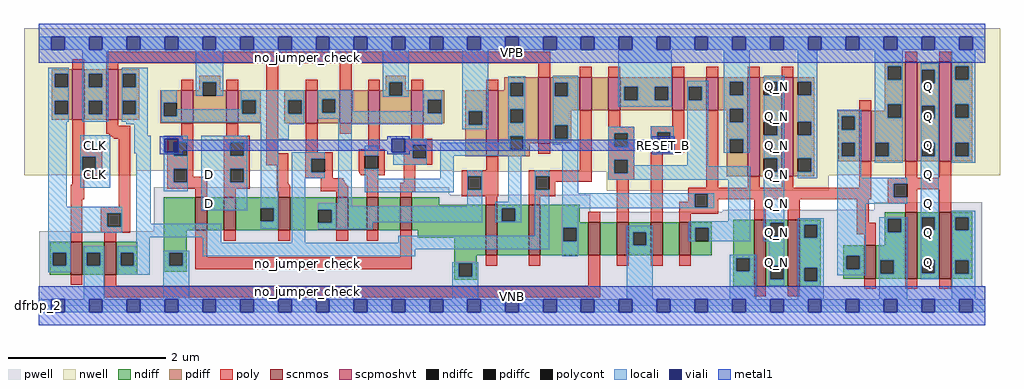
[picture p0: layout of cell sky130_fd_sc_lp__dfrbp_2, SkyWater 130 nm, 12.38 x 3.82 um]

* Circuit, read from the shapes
.subckt sky130_fd_sc_lp__dfrbp_2 CLK D RESET_B VGND VNB VPB VPWR Q Q_N
XM1 VGND CLK n1 VNB sky130_fd_pr__nfet_01v8 w=0.42 l=0.15
XM2 n2 n1 VGND VNB sky130_fd_pr__nfet_01v8 w=0.42 l=0.15
XM3 n3 RESET_B VGND VNB sky130_fd_pr__nfet_01v8 w=0.42 l=0.15
XM4 n4 D n3 VNB sky130_fd_pr__nfet_01v8 w=0.42 l=0.15
XM5 n5 n1 n4 VNB sky130_fd_pr__nfet_01v8 w=0.42 l=0.15
XM6 n6 n2 n5 VNB sky130_fd_pr__nfet_01v8 w=0.42 l=0.15
XM7 n7 n8 n6 VNB sky130_fd_pr__nfet_01v8 w=0.42 l=0.15
XM8 VGND RESET_B n7 VNB sky130_fd_pr__nfet_01v8 w=0.42 l=0.15
XM9 n8 n5 VGND VNB sky130_fd_pr__nfet_01v8 w=0.64 l=0.15
XM10 n9 n2 n8 VNB sky130_fd_pr__nfet_01v8 w=0.64 l=0.15
XM11 n10 n1 n9 VNB sky130_fd_pr__nfet_01v8 w=0.42 l=0.15
XM12 VGND n11 n10 VNB sky130_fd_pr__nfet_01v8 w=0.42 l=0.15
XM13 n12 RESET_B VGND VNB sky130_fd_pr__nfet_01v8 w=0.42 l=0.15
XM14 n11 n9 n12 VNB sky130_fd_pr__nfet_01v8 w=0.42 l=0.15
XM15 Q_N n9 VGND VNB sky130_fd_pr__nfet_01v8 w=0.84 l=0.15 m=2
XM16 VGND n9 n13 VNB sky130_fd_pr__nfet_01v8 w=0.42 l=0.15
XM17 Q n13 VGND VNB sky130_fd_pr__nfet_01v8 w=0.84 l=0.15 m=2
XM18 VPWR CLK n1 VPB sky130_fd_pr__pfet_01v8_hvt w=0.64 l=0.15
XM19 n2 n1 VPWR VPB sky130_fd_pr__pfet_01v8_hvt w=0.64 l=0.15
XM20 VPWR RESET_B n4 VPB sky130_fd_pr__pfet_01v8_hvt w=0.42 l=0.15
XM21 n4 D VPWR VPB sky130_fd_pr__pfet_01v8_hvt w=0.42 l=0.15
XM22 n5 n2 n4 VPB sky130_fd_pr__pfet_01v8_hvt w=0.42 l=0.15
XM23 n14 n1 n5 VPB sky130_fd_pr__pfet_01v8_hvt w=0.42 l=0.15
XM24 VPWR n8 n14 VPB sky130_fd_pr__pfet_01v8_hvt w=0.42 l=0.15
XM25 n5 RESET_B VPWR VPB sky130_fd_pr__pfet_01v8_hvt w=0.42 l=0.15
XM26 n8 n5 VPWR VPB sky130_fd_pr__pfet_01v8_hvt w=0.84 l=0.15
XM27 n9 n1 n8 VPB sky130_fd_pr__pfet_01v8_hvt w=0.84 l=0.15
XM28 n15 n2 n9 VPB sky130_fd_pr__pfet_01v8_hvt w=0.42 l=0.15
XM29 VPWR n11 n15 VPB sky130_fd_pr__pfet_01v8_hvt w=0.42 l=0.15
XM30 n11 RESET_B VPWR VPB sky130_fd_pr__pfet_01v8_hvt w=0.42 l=0.15
XM31 VPWR n9 n11 VPB sky130_fd_pr__pfet_01v8_hvt w=0.42 l=0.15
XM32 Q_N n9 VPWR VPB sky130_fd_pr__pfet_01v8_hvt w=1.26 l=0.15 m=2
XM33 VPWR n9 n13 VPB sky130_fd_pr__pfet_01v8_hvt w=0.64 l=0.15
XM34 Q n13 VPWR VPB sky130_fd_pr__pfet_01v8_hvt w=1.26 l=0.15 m=2
.ends

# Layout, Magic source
magic
tech sky130A
magscale 1 2
<< nwell >>
rect -38 343 2438 704
rect -38 331 249 343
rect 1049 340 2438 343
rect 1440 331 2438 340
rect 1440 292 2003 331
<< pwell >>
rect 291 282 1041 301
rect 291 238 1398 282
rect 2119 244 2393 263
rect 1735 238 2393 244
rect 291 189 2393 238
rect 1 49 2393 189
rect 0 0 2400 49
<< scnmos >>
rect 397 191 427 275
rect 469 191 499 275
rect 607 191 637 275
rect 754 191 784 275
rect 831 191 861 275
rect 916 191 946 275
rect 80 79 110 163
rect 166 79 196 163
rect 1133 128 1163 256
rect 1242 128 1272 256
rect 1394 128 1424 212
rect 1466 128 1496 212
rect 1552 128 1582 212
rect 1624 128 1654 212
rect 1814 50 1844 218
rect 1900 50 1930 218
rect 2093 69 2123 153
rect 2198 69 2228 237
rect 2284 69 2314 237
<< scpmoshvt >>
rect 85 472 115 600
rect 171 472 201 600
rect 361 463 391 547
rect 475 463 505 547
rect 677 463 707 547
rect 763 463 793 547
rect 835 463 865 547
rect 945 463 975 547
rect 1135 379 1165 547
rect 1267 412 1297 580
rect 1372 496 1402 580
rect 1444 496 1474 580
rect 1607 496 1637 580
rect 1693 496 1723 580
rect 1798 328 1828 580
rect 1884 328 1914 580
rect 2081 367 2111 495
rect 2198 367 2228 619
rect 2284 367 2314 619
<< ndiff >>
rect 317 191 397 275
rect 427 191 469 275
rect 499 248 607 275
rect 499 214 562 248
rect 596 214 607 248
rect 499 191 607 214
rect 637 244 754 275
rect 637 210 709 244
rect 743 210 754 244
rect 637 191 754 210
rect 784 191 831 275
rect 861 191 916 275
rect 946 256 1015 275
rect 946 191 1133 256
rect 27 135 80 163
rect 27 101 35 135
rect 69 101 80 135
rect 27 79 80 101
rect 110 135 166 163
rect 110 101 121 135
rect 155 101 166 135
rect 110 79 166 101
rect 196 135 249 163
rect 196 101 207 135
rect 241 101 249 135
rect 196 79 249 101
rect 317 135 375 191
rect 317 101 331 135
rect 365 101 375 135
rect 317 86 375 101
rect 961 172 1133 191
rect 1053 128 1133 172
rect 1163 248 1242 256
rect 1163 214 1174 248
rect 1208 214 1242 248
rect 1163 128 1242 214
rect 1272 212 1372 256
rect 1272 198 1394 212
rect 1272 164 1330 198
rect 1364 164 1394 198
rect 1272 128 1394 164
rect 1424 128 1466 212
rect 1496 187 1552 212
rect 1496 153 1507 187
rect 1541 153 1552 187
rect 1496 128 1552 153
rect 1582 128 1624 212
rect 1654 198 1707 212
rect 1654 164 1665 198
rect 1699 164 1707 198
rect 1654 128 1707 164
rect 1053 108 1111 128
rect 1053 74 1065 108
rect 1099 74 1111 108
rect 1053 66 1111 74
rect 1761 121 1814 218
rect 1761 87 1769 121
rect 1803 87 1814 121
rect 1761 50 1814 87
rect 1844 210 1900 218
rect 1844 176 1855 210
rect 1889 176 1900 210
rect 1844 101 1900 176
rect 1844 67 1855 101
rect 1889 67 1900 101
rect 1844 50 1900 67
rect 1930 206 1983 218
rect 1930 172 1941 206
rect 1975 172 1983 206
rect 2145 221 2198 237
rect 1930 96 1983 172
rect 2145 187 2153 221
rect 2187 187 2198 221
rect 2145 153 2198 187
rect 1930 62 1941 96
rect 1975 62 1983 96
rect 2040 127 2093 153
rect 2040 93 2048 127
rect 2082 93 2093 127
rect 2040 69 2093 93
rect 2123 115 2198 153
rect 2123 81 2134 115
rect 2168 81 2198 115
rect 2123 69 2198 81
rect 2228 225 2284 237
rect 2228 191 2239 225
rect 2273 191 2284 225
rect 2228 117 2284 191
rect 2228 83 2239 117
rect 2273 83 2284 117
rect 2228 69 2284 83
rect 2314 225 2367 237
rect 2314 191 2325 225
rect 2359 191 2367 225
rect 2314 115 2367 191
rect 2314 81 2325 115
rect 2359 81 2367 115
rect 2314 69 2367 81
rect 1930 50 1983 62
<< pdiff >>
rect 32 588 85 600
rect 32 554 40 588
rect 74 554 85 588
rect 32 520 85 554
rect 32 486 40 520
rect 74 486 85 520
rect 32 472 85 486
rect 115 588 171 600
rect 115 554 126 588
rect 160 554 171 588
rect 115 520 171 554
rect 115 486 126 520
rect 160 486 171 520
rect 115 472 171 486
rect 201 588 254 600
rect 201 554 212 588
rect 246 554 254 588
rect 201 520 254 554
rect 406 567 460 583
rect 406 547 416 567
rect 201 486 212 520
rect 246 486 254 520
rect 201 472 254 486
rect 308 515 361 547
rect 308 481 316 515
rect 350 481 361 515
rect 308 463 361 481
rect 391 533 416 547
rect 450 547 460 567
rect 450 533 475 547
rect 391 463 475 533
rect 505 521 562 547
rect 505 487 516 521
rect 550 487 562 521
rect 505 463 562 487
rect 880 567 930 583
rect 2145 607 2198 619
rect 880 547 888 567
rect 622 521 677 547
rect 622 487 632 521
rect 666 487 677 521
rect 622 463 677 487
rect 707 524 763 547
rect 707 490 718 524
rect 752 490 763 524
rect 707 463 763 490
rect 793 463 835 547
rect 865 533 888 547
rect 922 547 930 567
rect 1180 566 1267 580
rect 1180 547 1195 566
rect 922 533 945 547
rect 865 463 945 533
rect 975 523 1028 547
rect 975 489 986 523
rect 1020 489 1028 523
rect 975 463 1028 489
rect 1082 493 1135 547
rect 1082 459 1090 493
rect 1124 459 1135 493
rect 1082 379 1135 459
rect 1165 532 1195 547
rect 1229 532 1267 566
rect 1165 498 1267 532
rect 1165 464 1195 498
rect 1229 464 1267 498
rect 1165 430 1267 464
rect 1165 396 1195 430
rect 1229 412 1267 430
rect 1297 566 1372 580
rect 1297 532 1308 566
rect 1342 532 1372 566
rect 1297 496 1372 532
rect 1402 496 1444 580
rect 1474 555 1607 580
rect 1474 521 1485 555
rect 1519 521 1562 555
rect 1596 521 1607 555
rect 1474 496 1607 521
rect 1637 555 1693 580
rect 1637 521 1648 555
rect 1682 521 1693 555
rect 1637 496 1693 521
rect 1723 568 1798 580
rect 1723 534 1753 568
rect 1787 534 1798 568
rect 1723 500 1798 534
rect 1723 496 1753 500
rect 1297 458 1350 496
rect 1297 424 1308 458
rect 1342 424 1350 458
rect 1297 412 1350 424
rect 1229 396 1245 412
rect 1165 379 1245 396
rect 1745 466 1753 496
rect 1787 466 1798 500
rect 1745 422 1798 466
rect 1745 388 1753 422
rect 1787 388 1798 422
rect 1745 328 1798 388
rect 1828 568 1884 580
rect 1828 534 1839 568
rect 1873 534 1884 568
rect 1828 467 1884 534
rect 1828 433 1839 467
rect 1873 433 1884 467
rect 1828 374 1884 433
rect 1828 340 1839 374
rect 1873 340 1884 374
rect 1828 328 1884 340
rect 1914 568 1967 580
rect 1914 534 1925 568
rect 1959 534 1967 568
rect 1914 467 1967 534
rect 2145 573 2153 607
rect 2187 573 2198 607
rect 2145 511 2198 573
rect 2145 495 2153 511
rect 1914 433 1925 467
rect 1959 433 1967 467
rect 1914 374 1967 433
rect 1914 340 1925 374
rect 1959 340 1967 374
rect 2028 481 2081 495
rect 2028 447 2036 481
rect 2070 447 2081 481
rect 2028 413 2081 447
rect 2028 379 2036 413
rect 2070 379 2081 413
rect 2028 367 2081 379
rect 2111 477 2153 495
rect 2187 477 2198 511
rect 2111 413 2198 477
rect 2111 379 2122 413
rect 2156 379 2198 413
rect 2111 367 2198 379
rect 2228 599 2284 619
rect 2228 565 2239 599
rect 2273 565 2284 599
rect 2228 508 2284 565
rect 2228 474 2239 508
rect 2273 474 2284 508
rect 2228 413 2284 474
rect 2228 379 2239 413
rect 2273 379 2284 413
rect 2228 367 2284 379
rect 2314 607 2367 619
rect 2314 573 2325 607
rect 2359 573 2367 607
rect 2314 511 2367 573
rect 2314 477 2325 511
rect 2359 477 2367 511
rect 2314 413 2367 477
rect 2314 379 2325 413
rect 2359 379 2367 413
rect 2314 367 2367 379
rect 1914 328 1967 340
<< ndiffc >>
rect 562 214 596 248
rect 709 210 743 244
rect 35 101 69 135
rect 121 101 155 135
rect 207 101 241 135
rect 331 101 365 135
rect 1174 214 1208 248
rect 1330 164 1364 198
rect 1507 153 1541 187
rect 1665 164 1699 198
rect 1065 74 1099 108
rect 1769 87 1803 121
rect 1855 176 1889 210
rect 1855 67 1889 101
rect 1941 172 1975 206
rect 2153 187 2187 221
rect 1941 62 1975 96
rect 2048 93 2082 127
rect 2134 81 2168 115
rect 2239 191 2273 225
rect 2239 83 2273 117
rect 2325 191 2359 225
rect 2325 81 2359 115
<< pdiffc >>
rect 40 554 74 588
rect 40 486 74 520
rect 126 554 160 588
rect 126 486 160 520
rect 212 554 246 588
rect 212 486 246 520
rect 316 481 350 515
rect 416 533 450 567
rect 516 487 550 521
rect 632 487 666 521
rect 718 490 752 524
rect 888 533 922 567
rect 986 489 1020 523
rect 1090 459 1124 493
rect 1195 532 1229 566
rect 1195 464 1229 498
rect 1195 396 1229 430
rect 1308 532 1342 566
rect 1485 521 1519 555
rect 1562 521 1596 555
rect 1648 521 1682 555
rect 1753 534 1787 568
rect 1308 424 1342 458
rect 1753 466 1787 500
rect 1753 388 1787 422
rect 1839 534 1873 568
rect 1839 433 1873 467
rect 1839 340 1873 374
rect 1925 534 1959 568
rect 2153 573 2187 607
rect 1925 433 1959 467
rect 1925 340 1959 374
rect 2036 447 2070 481
rect 2036 379 2070 413
rect 2153 477 2187 511
rect 2122 379 2156 413
rect 2239 565 2273 599
rect 2239 474 2273 508
rect 2239 379 2273 413
rect 2325 573 2359 607
rect 2325 477 2359 511
rect 2325 379 2359 413
<< poly >>
rect 85 600 115 626
rect 171 615 1297 645
rect 2198 619 2228 645
rect 2284 619 2314 645
rect 171 600 201 615
rect 361 547 391 573
rect 85 394 115 472
rect 171 457 201 472
rect 475 547 505 573
rect 171 436 232 457
rect 178 432 232 436
rect 182 430 232 432
rect 361 431 391 463
rect 475 431 505 463
rect 186 427 232 430
rect 190 424 232 427
rect 85 378 160 394
rect 85 344 110 378
rect 144 344 160 378
rect 85 328 160 344
rect 85 307 115 328
rect 80 270 115 307
rect 80 163 110 270
rect 202 251 232 424
rect 326 415 392 431
rect 326 381 342 415
rect 376 381 392 415
rect 326 347 392 381
rect 326 313 342 347
rect 376 327 392 347
rect 469 415 535 431
rect 469 381 485 415
rect 519 381 535 415
rect 469 347 535 381
rect 577 387 607 615
rect 677 547 707 573
rect 763 547 793 615
rect 835 547 865 573
rect 1267 580 1297 615
rect 1372 580 1402 606
rect 1444 580 1474 606
rect 1607 580 1637 606
rect 1693 580 1723 606
rect 1798 580 1828 606
rect 1884 580 1914 606
rect 945 547 975 573
rect 1135 547 1165 573
rect 677 389 707 463
rect 763 437 793 463
rect 835 397 865 463
rect 945 424 975 463
rect 925 408 998 424
rect 577 357 633 387
rect 376 313 427 327
rect 326 297 427 313
rect 397 275 427 297
rect 469 313 485 347
rect 519 313 535 347
rect 469 297 535 313
rect 603 310 633 357
rect 675 373 745 389
rect 675 339 691 373
rect 725 339 745 373
rect 811 381 877 397
rect 811 347 827 381
rect 861 347 877 381
rect 811 341 877 347
rect 675 323 745 339
rect 812 337 877 341
rect 814 335 877 337
rect 816 331 877 335
rect 925 374 948 408
rect 982 374 998 408
rect 1267 386 1297 412
rect 925 358 998 374
rect 715 319 772 323
rect 715 315 774 319
rect 715 311 776 315
rect 603 308 634 310
rect 715 309 778 311
rect 603 306 635 308
rect 715 306 780 309
rect 603 304 636 306
rect 469 275 499 297
rect 603 290 637 304
rect 715 303 782 306
rect 715 290 784 303
rect 607 275 637 290
rect 754 275 784 290
rect 831 275 861 331
rect 925 312 955 358
rect 1135 344 1165 379
rect 1372 344 1402 496
rect 916 290 955 312
rect 1072 328 1165 344
rect 1072 294 1088 328
rect 1122 294 1165 328
rect 916 275 946 290
rect 1072 278 1165 294
rect 1242 328 1402 344
rect 1242 294 1260 328
rect 1294 314 1402 328
rect 1444 454 1474 496
rect 1607 456 1637 496
rect 1444 438 1510 454
rect 1444 404 1460 438
rect 1494 404 1510 438
rect 1444 370 1510 404
rect 1444 336 1460 370
rect 1494 336 1510 370
rect 1444 320 1510 336
rect 1552 440 1637 456
rect 1552 406 1568 440
rect 1602 406 1637 440
rect 1552 390 1637 406
rect 1294 294 1310 314
rect 1242 278 1310 294
rect 157 235 232 251
rect 157 201 173 235
rect 207 201 232 235
rect 157 185 232 201
rect 1133 256 1163 278
rect 1242 256 1272 278
rect 166 163 196 185
rect 397 123 427 191
rect 469 165 499 191
rect 607 165 637 191
rect 754 165 784 191
rect 831 165 861 191
rect 916 123 946 191
rect 397 93 946 123
rect 1394 212 1424 238
rect 1466 212 1496 320
rect 1552 212 1582 390
rect 1693 300 1723 496
rect 2081 495 2111 521
rect 1798 300 1828 328
rect 1884 300 1914 328
rect 2081 300 2111 367
rect 2198 325 2228 367
rect 2284 325 2314 367
rect 1647 284 2111 300
rect 1647 264 1663 284
rect 1624 250 1663 264
rect 1697 270 2111 284
rect 2153 309 2314 325
rect 2153 275 2169 309
rect 2203 295 2314 309
rect 2203 275 2228 295
rect 1697 250 1723 270
rect 1624 234 1723 250
rect 1624 212 1654 234
rect 1814 218 1844 270
rect 1900 218 1930 270
rect 80 53 110 79
rect 166 51 196 79
rect 1133 102 1163 128
rect 1242 102 1272 128
rect 1394 51 1424 128
rect 1466 102 1496 128
rect 1552 102 1582 128
rect 1624 102 1654 128
rect 166 21 1424 51
rect 2075 211 2105 270
rect 2153 259 2228 275
rect 2198 237 2228 259
rect 2284 237 2314 295
rect 2075 181 2123 211
rect 2093 153 2123 181
rect 1814 24 1844 50
rect 1900 24 1930 50
rect 2093 43 2123 69
rect 2198 43 2228 69
rect 2284 43 2314 69
<< polycont >>
rect 110 344 144 378
rect 342 381 376 415
rect 342 313 376 347
rect 485 381 519 415
rect 485 313 519 347
rect 691 339 725 373
rect 827 347 861 381
rect 948 374 982 408
rect 1088 294 1122 328
rect 1260 294 1294 328
rect 1460 404 1494 438
rect 1460 336 1494 370
rect 1568 406 1602 440
rect 173 201 207 235
rect 1663 250 1697 284
rect 2169 275 2203 309
<< locali >>
rect 0 649 31 683
rect 65 649 127 683
rect 161 649 223 683
rect 257 649 319 683
rect 353 649 415 683
rect 449 649 511 683
rect 545 649 607 683
rect 641 649 703 683
rect 737 649 799 683
rect 833 649 895 683
rect 929 649 991 683
rect 1025 649 1087 683
rect 1121 649 1183 683
rect 1217 649 1279 683
rect 1313 649 1375 683
rect 1409 649 1471 683
rect 1505 649 1567 683
rect 1601 649 1663 683
rect 1697 649 1759 683
rect 1793 649 1855 683
rect 1889 649 1951 683
rect 1985 649 2047 683
rect 2081 649 2143 683
rect 2177 649 2239 683
rect 2273 649 2335 683
rect 2369 649 2400 683
rect 24 588 76 604
rect 24 554 40 588
rect 74 554 76 588
rect 24 520 76 554
rect 24 486 40 520
rect 74 486 76 520
rect 24 467 76 486
rect 110 588 176 649
rect 110 554 126 588
rect 160 554 176 588
rect 110 520 176 554
rect 110 486 126 520
rect 160 486 176 520
rect 110 467 176 486
rect 210 588 276 604
rect 210 554 212 588
rect 246 554 276 588
rect 210 520 276 554
rect 398 567 468 649
rect 210 486 212 520
rect 246 486 276 520
rect 210 467 276 486
rect 24 251 71 467
rect 222 461 276 467
rect 310 515 350 547
rect 398 533 416 567
rect 450 533 468 567
rect 872 567 938 649
rect 310 481 316 515
rect 512 521 673 547
rect 512 499 516 521
rect 350 487 516 499
rect 550 487 632 521
rect 666 487 673 521
rect 350 481 673 487
rect 310 465 673 481
rect 707 524 797 547
rect 872 533 888 567
rect 922 533 938 567
rect 872 530 938 533
rect 707 490 718 524
rect 752 494 797 524
rect 974 523 1023 547
rect 974 494 986 523
rect 752 490 986 494
rect 707 489 986 490
rect 1020 489 1023 523
rect 707 474 1023 489
rect 105 378 181 433
rect 242 431 276 461
rect 562 460 673 465
rect 759 460 1023 474
rect 1074 493 1140 649
rect 242 387 283 431
rect 105 344 110 378
rect 144 344 181 378
rect 105 299 181 344
rect 24 235 211 251
rect 24 201 173 235
rect 207 201 211 235
rect 24 185 211 201
rect 247 208 283 387
rect 317 424 378 431
rect 317 390 319 424
rect 353 415 378 424
rect 317 381 342 390
rect 376 381 378 415
rect 317 347 378 381
rect 317 313 342 347
rect 376 313 378 347
rect 317 290 378 313
rect 412 415 528 431
rect 412 381 485 415
rect 519 381 528 415
rect 412 347 528 381
rect 412 313 485 347
rect 519 313 528 347
rect 412 242 528 313
rect 562 423 634 460
rect 562 248 607 423
rect 596 214 607 248
rect 24 135 80 185
rect 247 174 463 208
rect 562 196 607 214
rect 641 373 725 389
rect 641 339 691 373
rect 641 323 725 339
rect 247 151 281 174
rect 24 101 35 135
rect 69 101 80 135
rect 24 85 80 101
rect 114 135 166 151
rect 114 101 121 135
rect 155 101 166 135
rect 114 17 166 101
rect 200 135 281 151
rect 415 160 463 174
rect 641 160 675 323
rect 759 260 793 460
rect 1074 459 1090 493
rect 1124 459 1140 493
rect 1074 448 1140 459
rect 1190 566 1233 582
rect 1190 532 1195 566
rect 1229 532 1233 566
rect 1190 498 1233 532
rect 1190 464 1195 498
rect 1229 464 1233 498
rect 1190 430 1233 464
rect 827 381 861 406
rect 929 408 984 424
rect 1190 414 1195 430
rect 929 390 948 408
rect 899 374 948 390
rect 982 374 984 408
rect 899 358 984 374
rect 1018 396 1195 414
rect 1229 396 1233 430
rect 1304 566 1368 583
rect 1304 532 1308 566
rect 1342 532 1368 566
rect 1304 458 1368 532
rect 1469 555 1605 649
rect 1469 521 1485 555
rect 1519 521 1562 555
rect 1596 521 1605 555
rect 1469 505 1605 521
rect 1644 555 1698 571
rect 1644 521 1648 555
rect 1682 521 1698 555
rect 1304 424 1308 458
rect 1342 424 1368 458
rect 1304 408 1368 424
rect 1018 380 1233 396
rect 827 322 861 347
rect 1018 322 1052 380
rect 827 288 1052 322
rect 1086 328 1124 344
rect 1086 294 1088 328
rect 1122 294 1124 328
rect 709 252 793 260
rect 1086 252 1124 294
rect 1190 264 1224 380
rect 709 244 1124 252
rect 743 212 1124 244
rect 1158 248 1224 264
rect 1158 214 1174 248
rect 1208 214 1224 248
rect 1158 212 1224 214
rect 1258 328 1294 344
rect 1258 294 1260 328
rect 743 210 847 212
rect 709 194 847 210
rect 1258 178 1294 294
rect 912 160 1294 178
rect 415 144 1294 160
rect 1328 286 1368 408
rect 1444 438 1510 454
rect 1444 404 1460 438
rect 1494 404 1510 438
rect 1444 370 1510 404
rect 1552 440 1610 456
rect 1552 424 1568 440
rect 1552 390 1567 424
rect 1602 406 1610 440
rect 1601 390 1610 406
rect 1444 336 1460 370
rect 1494 356 1510 370
rect 1644 356 1698 521
rect 1737 568 1803 649
rect 1737 534 1753 568
rect 1787 534 1803 568
rect 1737 500 1803 534
rect 1737 466 1753 500
rect 1787 466 1803 500
rect 1737 422 1803 466
rect 1737 388 1753 422
rect 1787 388 1803 422
rect 1839 568 1891 584
rect 1873 534 1891 568
rect 1839 467 1891 534
rect 1873 433 1891 467
rect 1494 354 1698 356
rect 1839 374 1891 433
rect 1494 336 1805 354
rect 1444 320 1805 336
rect 1328 284 1713 286
rect 1328 250 1663 284
rect 1697 250 1713 284
rect 1328 248 1713 250
rect 1328 198 1368 248
rect 1749 214 1805 320
rect 1328 164 1330 198
rect 1364 164 1368 198
rect 200 101 207 135
rect 241 101 281 135
rect 200 79 281 101
rect 315 135 381 140
rect 315 101 331 135
rect 365 101 381 135
rect 415 126 955 144
rect 1328 126 1368 164
rect 1491 187 1557 203
rect 1491 153 1507 187
rect 1541 153 1557 187
rect 1649 198 1805 214
rect 1649 164 1665 198
rect 1699 164 1805 198
rect 1873 340 1891 374
rect 1839 210 1891 340
rect 1925 568 1975 649
rect 1959 534 1975 568
rect 1925 467 1975 534
rect 2120 607 2191 649
rect 2120 573 2153 607
rect 2187 573 2191 607
rect 2120 511 2191 573
rect 1959 433 1975 467
rect 1925 374 1975 433
rect 1959 340 1975 374
rect 1925 324 1975 340
rect 2025 481 2086 497
rect 2025 447 2036 481
rect 2070 447 2086 481
rect 2025 413 2086 447
rect 2025 379 2036 413
rect 2070 379 2086 413
rect 2025 325 2086 379
rect 2120 477 2153 511
rect 2187 477 2191 511
rect 2120 413 2191 477
rect 2120 379 2122 413
rect 2156 379 2191 413
rect 2120 363 2191 379
rect 2237 599 2282 615
rect 2237 565 2239 599
rect 2273 565 2282 599
rect 2237 508 2282 565
rect 2237 474 2239 508
rect 2273 474 2282 508
rect 2237 413 2282 474
rect 2237 379 2239 413
rect 2273 379 2282 413
rect 2025 309 2203 325
rect 2025 275 2169 309
rect 2025 259 2203 275
rect 1839 176 1855 210
rect 1889 176 1891 210
rect 1839 164 1891 176
rect 315 17 381 101
rect 1049 108 1115 110
rect 1049 74 1065 108
rect 1099 74 1115 108
rect 1049 17 1115 74
rect 1491 17 1557 153
rect 1753 121 1819 130
rect 1753 87 1769 121
rect 1803 87 1819 121
rect 1753 17 1819 87
rect 1853 101 1891 164
rect 1853 67 1855 101
rect 1889 67 1891 101
rect 1853 51 1891 67
rect 1925 206 1991 222
rect 1925 172 1941 206
rect 1975 172 1991 206
rect 1925 96 1991 172
rect 1925 62 1941 96
rect 1975 62 1991 96
rect 2025 127 2098 259
rect 2237 225 2282 379
rect 2316 607 2375 649
rect 2316 573 2325 607
rect 2359 573 2375 607
rect 2316 511 2375 573
rect 2316 477 2325 511
rect 2359 477 2375 511
rect 2316 413 2375 477
rect 2316 379 2325 413
rect 2359 379 2375 413
rect 2316 363 2375 379
rect 2025 93 2048 127
rect 2082 93 2098 127
rect 2025 77 2098 93
rect 2132 221 2203 225
rect 2132 187 2153 221
rect 2187 187 2203 221
rect 2132 115 2203 187
rect 2132 81 2134 115
rect 2168 81 2203 115
rect 1925 17 1991 62
rect 2132 17 2203 81
rect 2237 191 2239 225
rect 2273 191 2282 225
rect 2237 117 2282 191
rect 2237 83 2239 117
rect 2273 83 2282 117
rect 2237 67 2282 83
rect 2316 225 2375 241
rect 2316 191 2325 225
rect 2359 191 2375 225
rect 2316 115 2375 191
rect 2316 81 2325 115
rect 2359 81 2375 115
rect 2316 17 2375 81
rect 0 -17 31 17
rect 65 -17 127 17
rect 161 -17 223 17
rect 257 -17 319 17
rect 353 -17 415 17
rect 449 -17 511 17
rect 545 -17 607 17
rect 641 -17 703 17
rect 737 -17 799 17
rect 833 -17 895 17
rect 929 -17 991 17
rect 1025 -17 1087 17
rect 1121 -17 1183 17
rect 1217 -17 1279 17
rect 1313 -17 1375 17
rect 1409 -17 1471 17
rect 1505 -17 1567 17
rect 1601 -17 1663 17
rect 1697 -17 1759 17
rect 1793 -17 1855 17
rect 1889 -17 1951 17
rect 1985 -17 2047 17
rect 2081 -17 2143 17
rect 2177 -17 2239 17
rect 2273 -17 2335 17
rect 2369 -17 2400 17
<< viali >>
rect 31 649 65 683
rect 127 649 161 683
rect 223 649 257 683
rect 319 649 353 683
rect 415 649 449 683
rect 511 649 545 683
rect 607 649 641 683
rect 703 649 737 683
rect 799 649 833 683
rect 895 649 929 683
rect 991 649 1025 683
rect 1087 649 1121 683
rect 1183 649 1217 683
rect 1279 649 1313 683
rect 1375 649 1409 683
rect 1471 649 1505 683
rect 1567 649 1601 683
rect 1663 649 1697 683
rect 1759 649 1793 683
rect 1855 649 1889 683
rect 1951 649 1985 683
rect 2047 649 2081 683
rect 2143 649 2177 683
rect 2239 649 2273 683
rect 2335 649 2369 683
rect 319 415 353 424
rect 319 390 342 415
rect 342 390 353 415
rect 895 390 929 424
rect 1567 406 1568 424
rect 1568 406 1601 424
rect 1567 390 1601 406
rect 31 -17 65 17
rect 127 -17 161 17
rect 223 -17 257 17
rect 319 -17 353 17
rect 415 -17 449 17
rect 511 -17 545 17
rect 607 -17 641 17
rect 703 -17 737 17
rect 799 -17 833 17
rect 895 -17 929 17
rect 991 -17 1025 17
rect 1087 -17 1121 17
rect 1183 -17 1217 17
rect 1279 -17 1313 17
rect 1375 -17 1409 17
rect 1471 -17 1505 17
rect 1567 -17 1601 17
rect 1663 -17 1697 17
rect 1759 -17 1793 17
rect 1855 -17 1889 17
rect 1951 -17 1985 17
rect 2047 -17 2081 17
rect 2143 -17 2177 17
rect 2239 -17 2273 17
rect 2335 -17 2369 17
<< metal1 >>
rect 0 683 2400 715
rect 0 649 31 683
rect 65 649 127 683
rect 161 649 223 683
rect 257 649 319 683
rect 353 649 415 683
rect 449 649 511 683
rect 545 649 607 683
rect 641 649 703 683
rect 737 649 799 683
rect 833 649 895 683
rect 929 649 991 683
rect 1025 649 1087 683
rect 1121 649 1183 683
rect 1217 649 1279 683
rect 1313 649 1375 683
rect 1409 649 1471 683
rect 1505 649 1567 683
rect 1601 649 1663 683
rect 1697 649 1759 683
rect 1793 649 1855 683
rect 1889 649 1951 683
rect 1985 649 2047 683
rect 2081 649 2143 683
rect 2177 649 2239 683
rect 2273 649 2335 683
rect 2369 649 2400 683
rect 0 617 2400 649
rect 307 424 365 430
rect 307 390 319 424
rect 353 421 365 424
rect 883 424 941 430
rect 883 421 895 424
rect 353 393 895 421
rect 353 390 365 393
rect 307 384 365 390
rect 883 390 895 393
rect 929 421 941 424
rect 1555 424 1613 430
rect 1555 421 1567 424
rect 929 393 1567 421
rect 929 390 941 393
rect 883 384 941 390
rect 1555 390 1567 393
rect 1601 390 1613 424
rect 1555 384 1613 390
rect 0 17 2400 49
rect 0 -17 31 17
rect 65 -17 127 17
rect 161 -17 223 17
rect 257 -17 319 17
rect 353 -17 415 17
rect 449 -17 511 17
rect 545 -17 607 17
rect 641 -17 703 17
rect 737 -17 799 17
rect 833 -17 895 17
rect 929 -17 991 17
rect 1025 -17 1087 17
rect 1121 -17 1183 17
rect 1217 -17 1279 17
rect 1313 -17 1375 17
rect 1409 -17 1471 17
rect 1505 -17 1567 17
rect 1601 -17 1663 17
rect 1697 -17 1759 17
rect 1793 -17 1855 17
rect 1889 -17 1951 17
rect 1985 -17 2047 17
rect 2081 -17 2143 17
rect 2177 -17 2239 17
rect 2273 -17 2335 17
rect 2369 -17 2400 17
rect 0 -49 2400 -17
<< labels >>
flabel pwell s 0 0 2400 49 0 FreeSans 200 0 0 0 VNB
port 5 nsew ground bidirectional
flabel nwell s 0 617 2400 666 0 FreeSans 200 0 0 0 VPB
port 6 nsew power bidirectional
flabel comment s 680 36 680 36 0 FreeSans 300 0 0 0 no_jumper_check
flabel comment s 680 108 680 108 0 FreeSans 300 0 0 0 no_jumper_check
flabel comment s 680 630 680 630 0 FreeSans 300 0 0 0 no_jumper_check
rlabel comment s 0 0 0 0 4 dfrbp_2
flabel metal1 s 1567 390 1601 424 0 FreeSans 340 0 0 0 RESET_B
port 3 nsew signal input
flabel metal1 s 0 617 2400 666 0 FreeSans 340 0 0 0 VPWR
port 7 nsew power bidirectional
flabel metal1 s 0 0 2400 49 0 FreeSans 340 0 0 0 VGND
port 4 nsew ground bidirectional
flabel locali s 127 316 161 350 0 FreeSans 340 0 0 0 CLK
port 1 nsew clock input
flabel locali s 127 390 161 424 0 FreeSans 340 0 0 0 CLK
port 1 nsew clock input
flabel locali s 2239 94 2273 128 0 FreeSans 340 0 0 0 Q
port 8 nsew signal output
flabel locali s 2239 168 2273 202 0 FreeSans 340 0 0 0 Q
port 8 nsew signal output
flabel locali s 2239 242 2273 276 0 FreeSans 340 0 0 0 Q
port 8 nsew signal output
flabel locali s 2239 316 2273 350 0 FreeSans 340 0 0 0 Q
port 8 nsew signal output
flabel locali s 2239 390 2273 424 0 FreeSans 340 0 0 0 Q
port 8 nsew signal output
flabel locali s 2239 464 2273 498 0 FreeSans 340 0 0 0 Q
port 8 nsew signal output
flabel locali s 2239 538 2273 572 0 FreeSans 340 0 0 0 Q
port 8 nsew signal output
flabel locali s 1855 94 1889 128 0 FreeSans 340 0 0 0 Q_N
port 9 nsew signal output
flabel locali s 1855 168 1889 202 0 FreeSans 340 0 0 0 Q_N
port 9 nsew signal output
flabel locali s 1855 242 1889 276 0 FreeSans 340 0 0 0 Q_N
port 9 nsew signal output
flabel locali s 1855 316 1889 350 0 FreeSans 340 0 0 0 Q_N
port 9 nsew signal output
flabel locali s 1855 390 1889 424 0 FreeSans 340 0 0 0 Q_N
port 9 nsew signal output
flabel locali s 1855 464 1889 498 0 FreeSans 340 0 0 0 Q_N
port 9 nsew signal output
flabel locali s 1855 538 1889 572 0 FreeSans 340 0 0 0 Q_N
port 9 nsew signal output
flabel locali s 415 242 449 276 0 FreeSans 340 0 0 0 D
port 2 nsew signal input
flabel locali s 415 316 449 350 0 FreeSans 340 0 0 0 D
port 2 nsew signal input
<< properties >>
string LEFsite unit
string LEFclass CORE
string FIXED_BBOX 0 0 2400 666
string GDS_FILE $PDKPATH/libs.ref/sky130_fd_sc_lp/gds/sky130_fd_sc_lp.gds
string LEFsymmetry R90
string GDS_END 4525022
string GDS_START 4505562
<< end >>
